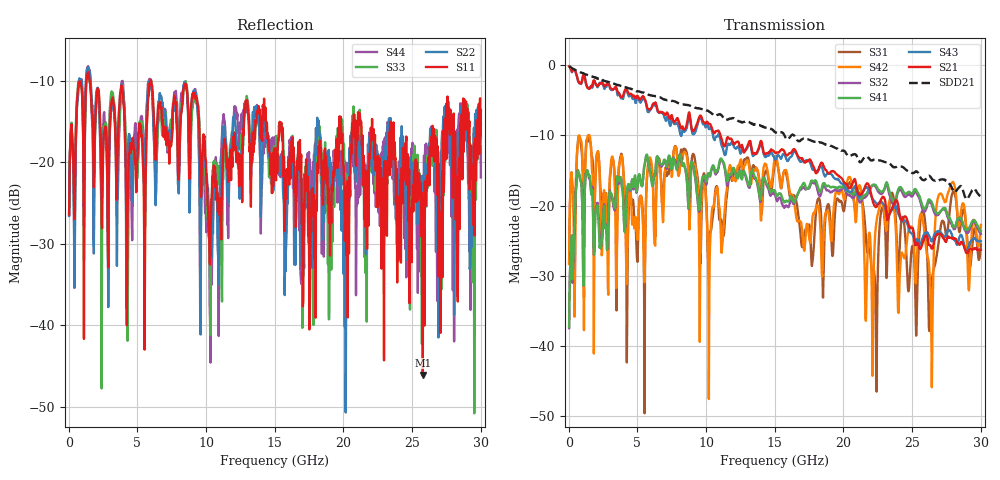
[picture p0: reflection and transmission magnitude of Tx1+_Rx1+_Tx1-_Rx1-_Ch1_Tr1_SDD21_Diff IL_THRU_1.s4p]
! MS46524B
! 2428202/M1: 23092762/M2: 24162104
! 11/13/2025 4:37:32 PM
! C:\ANRITSUVNA\TEMP\1.S4P
! CHANNEL.1
! TR.MEASUREMENT
! CORRECTED.DATA
# GHZ S RI R 50.0
! FREQ.GHZ  S11RE  S11IM  S12RE  S12IM  S13RE  S13IM  S14RE  S14IM
!  S21RE  S21IM  S22RE  S22IM  S23RE  S23IM  S24RE  S24IM
!  S31RE  S31IM  S32RE  S32IM  S33RE  S33IM  S34RE  S34IM
!  S41RE  S41IM  S42RE  S42IM  S43RE  S43IM  S44RE  S44IM
!; PortSelection: Port_1234
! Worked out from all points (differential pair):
!   1000 points, 30 MHz to 30 GHz, reference 50 ohm
!   strongest paths, dB at 30 MHz, 7.53 GHz, 15.03 GHz, 22.53 GHz, 30 GHz:
!     S21: -0.2, -7.3, -12.5, -19.8, -26.3
!     S43: -0.2, -7.6, -13.5, -19.7, -25.1
!     S41: -37.2, -14.0, -18.0, -17.7, -23.7
!     S32: -37.4, -14.1, -18.5, -18.0, -24.0
!     S42: -28.3, -15.6, -12.9, -21.0, -22.8
!     S31: -28.3, -14.8, -13.8, -27.1, -25.5
!   taken as a pair (ports 1,3 in; 2,4 out), SDD21 dB: -0.1, -5.1, -9.5, -13.5, -18.7
!   lowest |S11| = -46.1 dB at 25.77 GHz (marker M1), VSWR 1.01, Z = 50.5 - j0.204 ohm
!   |S11| at or under -10 dB: start of sweep to 1.286 GHz; 1.532 GHz to 5.962 GHz (4.431 GHz wide, 118 % of centre); 6.003 GHz to end of sweep
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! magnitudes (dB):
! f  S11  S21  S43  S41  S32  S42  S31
! 30 MHz  -26.4  -0.2  -0.2  -37.2  -37.4  -28.3  -28.3
! 1.38 GHz  -9.0  -3.2  -3.3  -15.0  -15.2  -10.2  -10.6
! 9.21 GHz  -12.2  -9.0  -9.6  -15.9  -16.1  -14.5  -13.8
! 10.32 GHz  -29.3  -8.5  -8.9  -15.5  -15.6  -24.2  -23.5
! 12.87 GHz  -12.6  -12.1  -12.1  -15.6  -15.8  -14.1  -13.4
! 25.77 GHz  -46.1  -25.2  -24.6  -20.2  -20.6  -22.0  -20.7
! 30 GHz  -13.6  -26.3  -25.1  -23.7  -24.0  -22.8  -25.5
